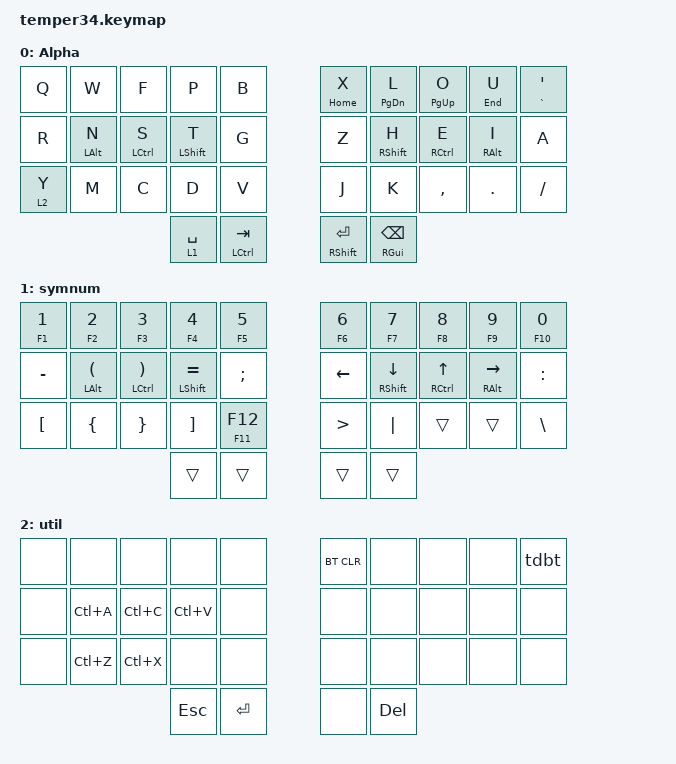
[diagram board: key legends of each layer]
#include <behaviors.dtsi>
#include <dt-bindings/zmk/bt.h>
#include <dt-bindings/zmk/keys.h>

/ {
    behaviors {
        hrm: hrm {
            compatible = "zmk,behavior-hold-tap";
            label = "HRM";
            bindings = <&kp>, <&kp>;

            #binding-cells = <2>;
            tapping-term-ms = <175>;
            quick-tap-ms = <100>;
            flavor = "balanced";
        };

        hrms: hrms {
            compatible = "zmk,behavior-hold-tap";
            label = "HRMS";
            bindings = <&kp>, <&kp>;

            #binding-cells = <2>;
            flavor = "balanced";
            tapping-term-ms = <200>;
        };

        tdbt: tdbt {
            compatible = "zmk,behavior-tap-dance";
            label = "TDBT";
            #binding-cells = <0>;
            bindings = <&bt BT_SEL 0>, <&bt BT_SEL 1>;

            tapping-term-ms = <200>;
        };
    };

    combos {
        compatible = "zmk,combos";

        Esc {
            bindings = <&kp ESCAPE>;
            key-positions = <1 2>;
            layers = <0 1 2>;
        };

        Delete {
            bindings = <&kp DELETE>;
            key-positions = <27 28>;
        };
    };

    keymap {
        compatible = "zmk,keymap";

        Alpha {
            bindings = <
&kp Q    &kp W             &kp F         &kp P         &kp B             &hrms HOME X      &hrms PG_DN L   &hrms PG_UP O  &hrms END U   &hrms GRAVE SQT
&kp R    &hrms LEFT_ALT N  &hrm LCTRL S  &hrm LSHFT T  &kp G             &kp Z             &hrm RSHFT H    &hrm RCTRL E   &hrms RALT I  &kp A
&lt 2 Y  &kp M             &kp C         &kp D         &kp V             &kp J             &kp K           &kp COMMA      &kp DOT       &kp SLASH
                                         &lt 1 SPACE   &hrm LCTRL TAB    &hrm RSHFT ENTER  &hrm RGUI BSPC
            >;
        };

        symnum {
            bindings = <
&hrms F1 N1  &hrms F2 N2      &hrm F3 N3       &hrm F4 N4        &hrm F5 N5      &hrm F6 N6  &hrm F7 N7       &hrm F8 N8     &hrms F9 N9       &hrms F10 N0
&kp MINUS    &hrms LALT LPAR  &hrm LCTRL RPAR  &hrm LSHFT EQUAL  &kp SEMI        &kp LEFT    &hrm RSHFT DOWN  &hrm RCTRL UP  &hrms RALT RIGHT  &kp COLON
&kp LBKT     &kp LBRC         &kp RBRC         &kp RBKT          &hrm F11 F12    &kp GT      &kp PIPE         &trans         &trans            &kp BSLH
                                               &trans            &trans          &trans      &trans
            >;
        };

        util {
            bindings = <
&none  &none      &none      &none      &none        &bt BT_CLR  &none       &none  &none  &tdbt
&none  &kp LC(A)  &kp LC(C)  &kp LC(V)  &none        &none       &none       &none  &none  &none
&none  &kp LC(Z)  &kp LC(X)  &none      &none        &none       &none       &none  &none  &none
                             &kp ESC    &kp ENTER    &none       &kp DELETE
            >;
        };
    };
};
